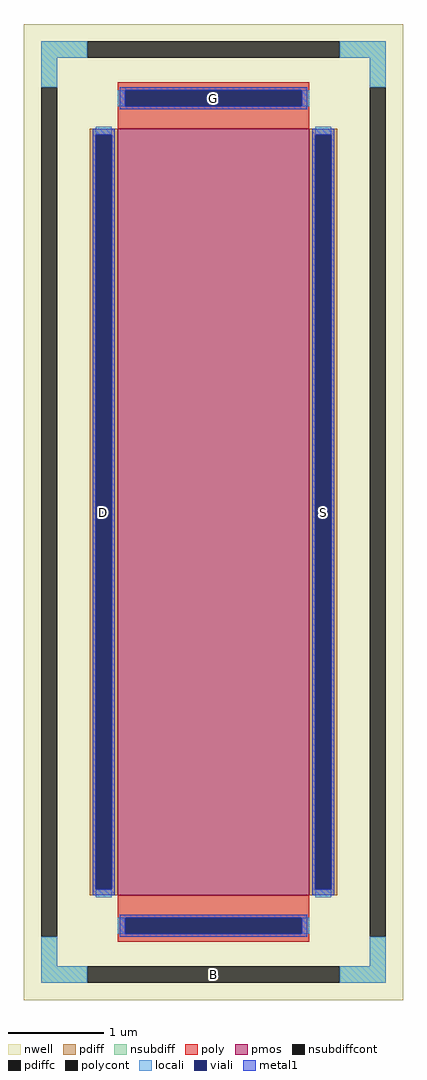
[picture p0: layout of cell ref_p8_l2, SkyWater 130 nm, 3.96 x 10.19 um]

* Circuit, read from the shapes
.subckt ref_p8_l2 B D S G
XM1 S G D B sky130_fd_pr__pfet_01v8 w=8 l=2
.ends

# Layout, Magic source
magic
tech sky130A
magscale 1 2
<< nwell >>
rect -396 -1019 396 1019
<< pmos >>
rect -200 -800 200 800
<< pdiff >>
rect -258 788 -200 800
rect -258 -788 -246 788
rect -212 -788 -200 788
rect -258 -800 -200 -788
rect 200 788 258 800
rect 200 -788 212 788
rect 246 -788 258 788
rect 200 -800 258 -788
<< pdiffc >>
rect -246 -788 -212 788
rect 212 -788 246 788
<< nsubdiff >>
rect -360 949 -264 983
rect 264 949 360 983
rect -360 887 -326 949
rect 326 887 360 949
rect -360 -949 -326 -887
rect 326 -949 360 -887
rect -360 -983 -264 -949
rect 264 -983 360 -949
<< nsubdiffcont >>
rect -264 949 264 983
rect -360 -887 -326 887
rect 326 -887 360 887
rect -264 -983 264 -949
<< poly >>
rect -200 881 200 897
rect -200 847 -184 881
rect 184 847 200 881
rect -200 800 200 847
rect -200 -847 200 -800
rect -200 -881 -184 -847
rect 184 -881 200 -847
rect -200 -897 200 -881
<< polycont >>
rect -184 847 184 881
rect -184 -881 184 -847
<< locali >>
rect -360 949 -264 983
rect 264 949 360 983
rect -360 887 -326 949
rect 326 887 360 949
rect -200 847 -184 881
rect 184 847 200 881
rect -246 788 -212 804
rect -246 -804 -212 -788
rect 212 788 246 804
rect 212 -804 246 -788
rect -200 -881 -184 -847
rect 184 -881 200 -847
rect -360 -949 -326 -887
rect 326 -949 360 -887
rect -360 -983 -264 -949
rect 264 -983 360 -949
<< viali >>
rect -184 847 184 881
rect -246 -788 -212 788
rect 212 -788 246 788
rect -184 -881 184 -847
<< metal1 >>
rect -196 881 196 887
rect -196 847 -184 881
rect 184 847 196 881
rect -196 841 196 847
rect -252 788 -206 800
rect -252 -788 -246 788
rect -212 -788 -206 788
rect -252 -800 -206 -788
rect 206 788 252 800
rect 206 -788 212 788
rect 246 -788 252 788
rect 206 -800 252 -788
rect -196 -847 196 -841
rect -196 -881 -184 -847
rect 184 -881 196 -847
rect -196 -887 196 -881
<< labels >>
rlabel nsubdiffcont 0 -966 0 -966 0 B
port 1 nsew
rlabel pdiffc -229 0 -229 0 0 D
port 2 nsew
rlabel pdiffc 229 0 229 0 0 S
port 3 nsew
rlabel polycont 0 864 0 864 0 G
port 4 nsew
<< properties >>
string FIXED_BBOX -343 -966 343 966
<< end >>
